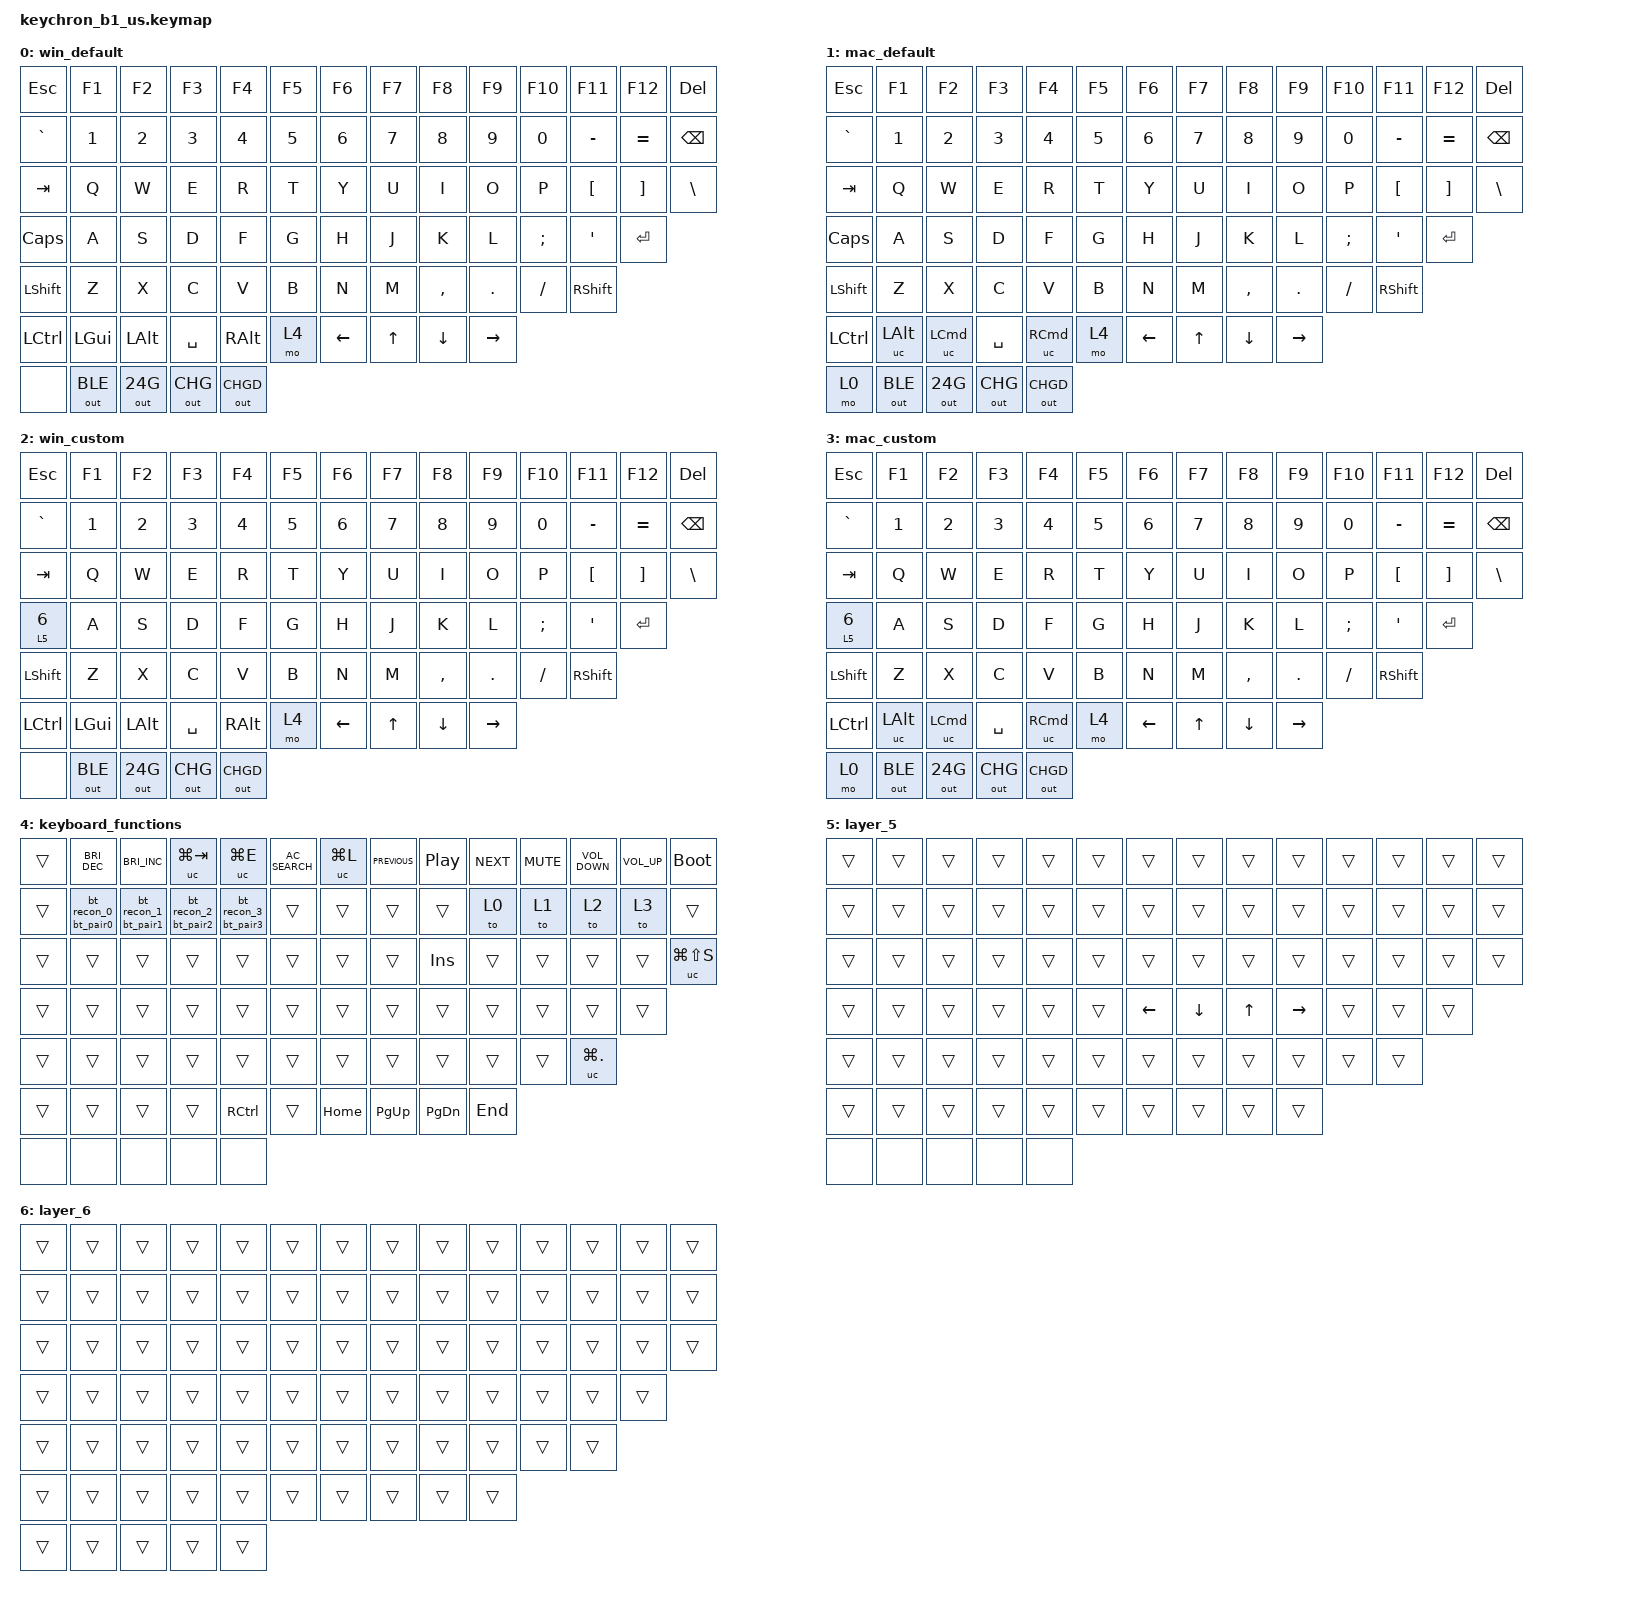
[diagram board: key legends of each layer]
/*
 * Copyright (c) 2023 The ZMK Contributors
 *
 * SPDX-License-Identifier: MIT
 */

#include <behaviors.dtsi>
#include <dt-bindings/zmk/keys.h>
#include <dt-bindings/zmk/outputs.h>

/ {
    ZMK_MACRO(recover, bindings = <&out OUT_RECOVER>;)
    ZMK_MACRO(change, bindings = <&out OUT_FN>;)
    ZMK_MACRO(fn_win, bindings = <&out OUT_FN_WIN>;)

    ZMK_MACRO(en_bootloader,

    bindings = <&bootloader>;

    )
    ZMK_MACRO1(

    MA,bindings = <&kp 0x770000>;

    )

    long_press_recover: l1 {
        compatible = "zmk,behavior-hold-tap";
        label = "l1";
        #binding-cells = <2>;
        flavor = "tap-preferred";
        tapping-term-ms = <3000>;  // delay amount in ms
        bindings = <&recover>, <&none>;
    };

    long_press_change: l2 {
        compatible = "zmk,behavior-hold-tap";
        label = "lp_change";
        #binding-cells = <2>;
        flavor = "tap-preferred";
        tapping-term-ms = <3000>;  // delay amount in ms
        bindings = <&change>, <&none>;
    };

    long_press_bootloader: l3 {
        compatible = "zmk,behavior-hold-tap";
        label = "lp_bootloader";
        #binding-cells = <2>;
        flavor = "tap-preferred";
        tapping-term-ms = <3000>;  // delay amount in ms
        bindings = <&en_bootloader>, <&none>;
    };

    long_press_fn_win: l4 {
        compatible = "zmk,behavior-hold-tap";
        label = "lp_fn_win";
        #binding-cells = <2>;
        flavor = "tap-preferred";
        tapping-term-ms = <3000>;
        bindings = <&fn_win>, <&none>;
    };

    combos1 {
        compatible = "zmk,combos";

        combo_jz {
            timeout-ms = <1000>;
            layers = <4>;
            key-positions = <49 56>; //fn+j+z
            bindings = <&long_press_recover 0 0>;
        };

        combo_xl {
            timeout-ms = <1000>;
            layers = <4>;
            key-positions = <57 51>; //fn+x+l
            bindings = <&long_press_change 0 0>;
        };

        combo_b {
            timeout-ms = <1000>;
            layers = <4>;

            //slow-release = <true>;

            key-positions = <60>; //fn+b
            bindings = <&out OUT_BAT>;
        };

        combo_win_l {
            timeout-ms = <1000>;
            layers = <4>;

            //slow-release = <true>;

            key-positions = <68>; //fn+win
            bindings = <&long_press_fn_win 0 0>;
        };

        combo_t0 {
            timeout-ms = <10 >;
            layers = <5>;
            key-positions = <80 90>;
            bindings = <&to 4>;
        };

        combo_t1 {
            timeout-ms = <10 >;
            layers = <5>;
            key-positions = <80 91>;
            bindings = <&tog 4>;
        };

        combo_t2 {
            timeout-ms = <10 >;
            layers = <5>;
            key-positions = <80 92>;
            bindings = <&sl 4>;
        };

        combo_t3 {
            timeout-ms = <10 >;
            layers = <5>;
            key-positions = <70 93>;
            bindings = <&lt 4 SPACE>;
        };

        combo_t4 {
            timeout-ms = <10 >;
            layers = <5>;
            key-positions = <81 94>;
            bindings = <&sk LSHIFT>;
        };

        combo_t5 {
            timeout-ms = <10 >;
            layers = <5>;
            key-positions = <81 93>;
            bindings = <&mt LSHIFT SPACE>;
        };

        combo_t6 {
            timeout-ms = <10 >;
            layers = <5>;
            key-positions = <81 93>;
            bindings = <&gresc>;
        };
    };

    td0 {
        compatible = "zmk,behavior-tap-dance";
        label = "TAPD_LAYER";
        #binding-cells = <1>;
        tapping-term-ms = <350>;
        bindings = <&mo 1>, <&mo 1>, <&mo 1>, <&mo 1>, <&to 1>;
    };

    ZMK_MACRO(bt_pair0,

    bindings = <&bt BT_PAIR 0>;

    )
    ZMK_MACRO(

    bt_pair1,
    bindings = <&bt BT_PAIR 1>;

    )
    ZMK_MACRO(

    bt_pair2,
    bindings = <&bt BT_PAIR 2>;

    )
    ZMK_MACRO(

    bt_pair3,
    bindings = <&bt BT_PAIR 3>;

    )
    ZMK_MACRO(

    bt_recon_0,
    bindings = <&bt BT_SEL 0>;

    )
    ZMK_MACRO(

    bt_recon_1,
    bindings = <&bt BT_SEL 1>;

    )
    ZMK_MACRO(

    bt_recon_2,
    bindings = <&bt BT_SEL 2>;

    )
    ZMK_MACRO(

    bt_recon_3,
    bindings = <&bt BT_SEL 3>;

    )

    bt_pair_0: bt_pair_0 {
        compatible = "zmk,behavior-hold-tap";
        label = "bt_pair0";
        #binding-cells = <2>;
        flavor = "tap-preferred";
        tapping-term-ms = <3000>;  // delay amount in ms
        bindings = <&bt_pair0>, <&bt_recon_0>;
    };

    bt_pair_1: bt_pair_1 {
        compatible = "zmk,behavior-hold-tap";
        label = "bt_pair1";
        #binding-cells = <2>;
        flavor = "tap-preferred";
        tapping-term-ms = <3000>;  // delay amount in ms
        bindings = <&bt_pair1>, <&bt_recon_1>;
    };

    bt_pair_2: bt_pair_2 {
        compatible = "zmk,behavior-hold-tap";
        label = "bt_pair2";
        #binding-cells = <2>;
        flavor = "tap-preferred";
        tapping-term-ms = <3000>;  // delay amount in ms
        bindings = <&bt_pair2>, <&bt_recon_2>;
    };

    bt_pair_3: bt_pair_3 {
        compatible = "zmk,behavior-hold-tap";
        label = "bt_pair3";
        #binding-cells = <2>;
        flavor = "tap-preferred";
        tapping-term-ms = <3000>;  // delay amount in ms
        bindings = <&bt_pair3>, <&bt_recon_3>;
    };

    uc: user_custom {
        compatible = "zmk,behavior-key-press";
        label = "user_custom";
        #binding-cells = <1>;
    };

    ht_layer: ht_layer {
        compatible = "zmk,behavior-hold-tap";
        label = "HT_LAYER";
        bindings = <&mo>, <&lt>;

        #binding-cells = <2>;
        flavor = "tap-preferred";
        tapping-term-ms = <200>;
    };

    behaviors {
    };

    keymap {
        compatible = "zmk,keymap";

        //mac

        win_default {
            bindings = <
&kp ESC    &kp F1        &kp F2        &kp F3        &kp F4         &kp F5  &kp F6    &kp F7  &kp F8     &kp F9     &kp F10   &kp F11    &kp F12    &kp DEL
&kp GRAVE  &kp N1        &kp N2        &kp N3        &kp N4         &kp N5  &kp N6    &kp N7  &kp N8     &kp N9     &kp N0    &kp MINUS  &kp EQUAL  &kp BSPC
&kp TAB    &kp Q         &kp W         &kp E         &kp R          &kp T   &kp Y     &kp U   &kp I      &kp O      &kp P     &kp LBKT   &kp RBKT   &kp BSLH
&kp CLCK   &kp A         &kp S         &kp D         &kp F          &kp G   &kp H     &kp J   &kp K      &kp L      &kp SEMI  &kp SQT    &kp RET
&kp LSHFT  &kp Z         &kp X         &kp C         &kp V          &kp B   &kp N     &kp M   &kp COMMA  &kp DOT    &kp FSLH  &kp RSHFT
&kp LCTRL  &kp LGUI      &kp LALT      &kp SPACE     &kp RALT       &mo 4   &kp LEFT  &kp UP  &kp DOWN   &kp RIGHT
&none      &out OUT_BLE  &out OUT_24G  &out OUT_CHG  &out OUT_CHGD
            >;
        };

        mac_default {
            bindings = <
&kp ESC    &kp F1        &kp F2        &kp F3        &kp F4         &kp F5  &kp F6    &kp F7  &kp F8     &kp F9     &kp F10   &kp F11    &kp F12    &kp DEL
&kp GRAVE  &kp N1        &kp N2        &kp N3        &kp N4         &kp N5  &kp N6    &kp N7  &kp N8     &kp N9     &kp N0    &kp MINUS  &kp EQUAL  &kp BSPC
&kp TAB    &kp Q         &kp W         &kp E         &kp R          &kp T   &kp Y     &kp U   &kp I      &kp O      &kp P     &kp LBKT   &kp RBKT   &kp BSLH
&kp CLCK   &kp A         &kp S         &kp D         &kp F          &kp G   &kp H     &kp J   &kp K      &kp L      &kp SEMI  &kp SQT    &kp RET
&kp LSHFT  &kp Z         &kp X         &kp C         &kp V          &kp B   &kp N     &kp M   &kp COMMA  &kp DOT    &kp FSLH  &kp RSHFT
&kp LCTRL  &uc LALT      &uc LCMD      &kp SPACE     &uc RCMD       &mo 4   &kp LEFT  &kp UP  &kp DOWN   &kp RIGHT
&mo 0      &out OUT_BLE  &out OUT_24G  &out OUT_CHG  &out OUT_CHGD
            >;
        };

        win_custom {
            bindings = <
&kp ESC        &kp F1        &kp F2        &kp F3        &kp F4         &kp F5  &kp F6    &kp F7  &kp F8     &kp F9     &kp F10   &kp F11    &kp F12    &kp DEL
&kp GRAVE      &kp N1        &kp N2        &kp N3        &kp N4         &kp N5  &kp N6    &kp N7  &kp N8     &kp N9     &kp N0    &kp MINUS  &kp EQUAL  &kp BSPC
&kp TAB        &kp Q         &kp W         &kp E         &kp R          &kp T   &kp Y     &kp U   &kp I      &kp O      &kp P     &kp LBKT   &kp RBKT   &kp BSLH
&ht_layer 5 6  &kp A         &kp S         &kp D         &kp F          &kp G   &kp H     &kp J   &kp K      &kp L      &kp SEMI  &kp SQT    &kp RET
&kp LSHFT      &kp Z         &kp X         &kp C         &kp V          &kp B   &kp N     &kp M   &kp COMMA  &kp DOT    &kp FSLH  &kp RSHFT
&kp LCTRL      &kp LGUI      &kp LALT      &kp SPACE     &kp RALT       &mo 4   &kp LEFT  &kp UP  &kp DOWN   &kp RIGHT
&none          &out OUT_BLE  &out OUT_24G  &out OUT_CHG  &out OUT_CHGD
            >;
        };

        mac_custom {
            bindings = <
&kp ESC        &kp F1        &kp F2        &kp F3        &kp F4         &kp F5  &kp F6    &kp F7  &kp F8     &kp F9     &kp F10   &kp F11    &kp F12    &kp DEL
&kp GRAVE      &kp N1        &kp N2        &kp N3        &kp N4         &kp N5  &kp N6    &kp N7  &kp N8     &kp N9     &kp N0    &kp MINUS  &kp EQUAL  &kp BSPC
&kp TAB        &kp Q         &kp W         &kp E         &kp R          &kp T   &kp Y     &kp U   &kp I      &kp O      &kp P     &kp LBKT   &kp RBKT   &kp BSLH
&ht_layer 5 6  &kp A         &kp S         &kp D         &kp F          &kp G   &kp H     &kp J   &kp K      &kp L      &kp SEMI  &kp SQT    &kp RET
&kp LSHFT      &kp Z         &kp X         &kp C         &kp V          &kp B   &kp N     &kp M   &kp COMMA  &kp DOT    &kp FSLH  &kp RSHFT
&kp LCTRL      &uc LALT      &uc LCMD      &kp SPACE     &uc RCMD       &mo 4   &kp LEFT  &kp UP  &kp DOWN   &kp RIGHT
&mo 0          &out OUT_BLE  &out OUT_24G  &out OUT_CHG  &out OUT_CHGD
            >;
        };

        keyboard_functions {
            bindings = <
&trans  &kp C_BRIGHTNESS_DEC  &kp C_BRIGHTNESS_INC  &uc LG(TAB)     &uc LG(E)       &kp C_AC_SEARCH  &uc LG(L)  &kp C_PREVIOUS  &kp C_PLAY_PAUSE  &kp C_NEXT  &kp C_MUTE  &kp C_VOLUME_DOWN  &kp C_VOLUME_UP  &bootloader
&trans  &bt_pair_0 0 0        &bt_pair_1 0 0        &bt_pair_2 0 0  &bt_pair_3 0 0  &trans           &trans     &trans          &trans            &to 0       &to 1       &to 2              &to 3            &trans
&trans  &trans                &trans                &trans          &trans          &trans           &trans     &trans          &kp INS           &trans      &trans      &trans             &trans           &uc LG(LS(S))
&trans  &trans                &trans                &trans          &trans          &trans           &trans     &trans          &trans            &trans      &trans      &trans             &trans
&trans  &trans                &trans                &trans          &trans          &trans           &trans     &trans          &trans            &trans      &trans      &uc LG(DOT)
&trans  &trans                &trans                &trans          &kp RCTRL       &trans           &kp HOME   &kp PG_UP       &kp PG_DN         &kp END
&none   &none                 &none                 &none           &none
            >;
        };

        layer_5 {
            bindings = <
&trans  &trans  &trans  &trans  &trans  &trans  &trans    &trans    &trans        &trans     &trans  &trans  &trans  &trans
&trans  &trans  &trans  &trans  &trans  &trans  &trans    &trans    &trans        &trans     &trans  &trans  &trans  &trans
&trans  &trans  &trans  &trans  &trans  &trans  &trans    &trans    &trans        &trans     &trans  &trans  &trans  &trans
&trans  &trans  &trans  &trans  &trans  &trans  &kp LEFT  &kp DOWN  &kp UP_ARROW  &kp RIGHT  &trans  &trans  &trans
&trans  &trans  &trans  &trans  &trans  &trans  &trans    &trans    &trans        &trans     &trans  &trans
&trans  &trans  &trans  &trans  &trans  &trans  &trans    &trans    &trans        &trans
&none   &none   &none   &none   &none
            >;
        };

        layer_6 {
            bindings = <
&trans  &trans  &trans  &trans  &trans  &trans  &trans  &trans  &trans  &trans  &trans  &trans  &trans  &trans
&trans  &trans  &trans  &trans  &trans  &trans  &trans  &trans  &trans  &trans  &trans  &trans  &trans  &trans
&trans  &trans  &trans  &trans  &trans  &trans  &trans  &trans  &trans  &trans  &trans  &trans  &trans  &trans
&trans  &trans  &trans  &trans  &trans  &trans  &trans  &trans  &trans  &trans  &trans  &trans  &trans
&trans  &trans  &trans  &trans  &trans  &trans  &trans  &trans  &trans  &trans  &trans  &trans
&trans  &trans  &trans  &trans  &trans  &trans  &trans  &trans  &trans  &trans
&trans  &trans  &trans  &trans  &trans
            >;
        };
    };
};
